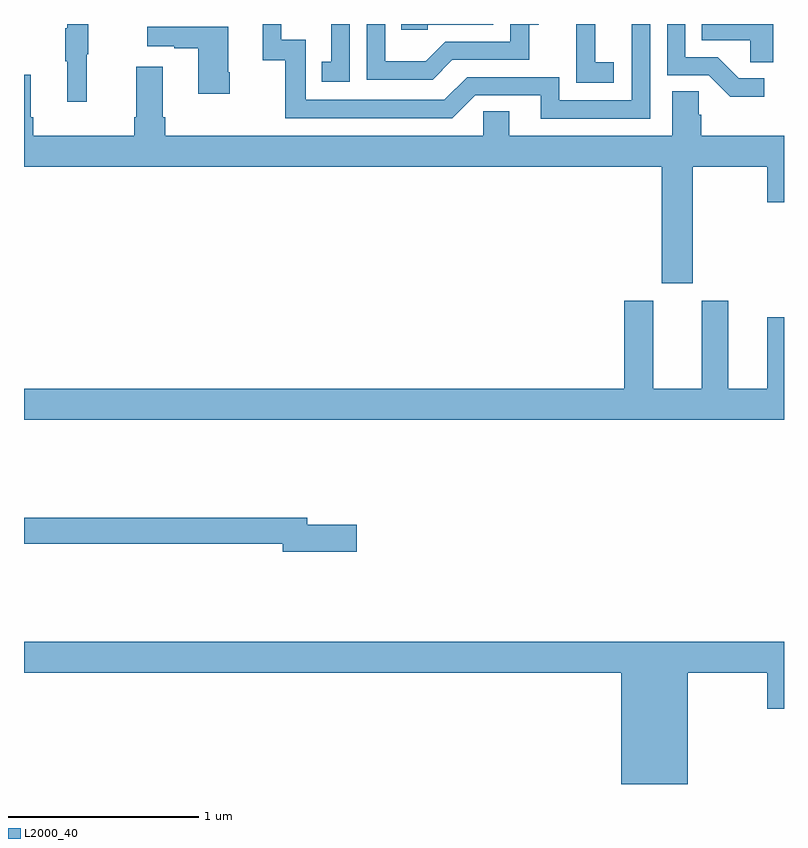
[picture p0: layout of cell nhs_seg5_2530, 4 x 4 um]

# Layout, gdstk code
import gdstk
lib = gdstk.Library(unit=1e-6, precision=1e-09)
def P(c, l, *ps):  # polygons
    for p in ps: c.add(gdstk.Polygon(p, *l))
L2000_40 = (2000, 40)

nhs_seg5_2530 = lib.new_cell('nhs_seg5_2530')
P(nhs_seg5_2530, L2000_40, [(260.896,902.514),(260.761,902.514),(260.65,902.625),(260.481,902.625),(260.481,902.799),(260.385,902.799),(260.385,902.529),(260.604,902.529),(260.717,902.417),(260.896,902.417)],
  [(260.104,902.599),(260.006,902.599),(260.006,902.799),(259.907,902.799),(259.907,902.695),(259.906,902.695),(259.906,902.489),(260.104,902.489)],
  [(259.125,902.796),(259.47,902.796),(259.47,902.799),(258.985,902.799),(258.985,902.769),(259.125,902.769)],
  [(260.295,902.799),(260.199,902.799),(260.199,902.397),(259.818,902.397),(259.818,902.52),(259.332,902.52),(259.212,902.4),(258.483,902.4),(258.483,902.715),(258.354,902.715),(258.354,902.799),(258.257,902.799),(258.257,902.607),(258.375,902.607),(258.375,902.304),(259.254,902.304),(259.374,902.424),(259.721,902.424),(259.721,902.301),(260.295,902.301)],
  [(258.714,902.799),(258.617,902.799),(258.617,902.601),(258.568,902.601),(258.568,902.496),(258.714,902.496)],
  [(260.944,902.799),(260.566,902.799),(260.566,902.714),(260.823,902.714),(260.823,902.599),(260.944,902.599)],
  [(259.255,902.61),(259.659,902.61),(259.659,902.795),(259.708,902.795),(259.708,902.799),(259.56,902.799),(259.56,902.706),(259.218,902.706),(259.114,902.602),(258.9,902.602),(258.9,902.799),(258.804,902.799),(258.804,902.505),(259.15,902.505)],
  [(257.33,902.64),(257.338,902.64),(257.338,902.799),(257.228,902.799),(257.228,902.777),(257.217,902.777),(257.217,902.603),(257.228,902.603),(257.228,902.391),(257.33,902.391)],
  [(258.084,902.545),(258.076,902.545),(258.076,902.785),(257.649,902.785),(257.649,902.681),(257.791,902.681),(257.791,902.671),(257.918,902.671),(257.918,902.433),(258.084,902.433)],
  [(260.521,902.048),(260.912,902.048),(260.912,901.86),(261,901.86),(261,902.212),(260.564,902.212),(260.564,902.321),(260.55,902.321),(260.55,902.444),(260.411,902.444),(260.411,902.212),(259.555,902.212),(259.555,902.339),(259.416,902.339),(259.416,902.212),(257.744,902.212),(257.744,902.308),(257.731,902.308),(257.731,902.575),(257.591,902.575),(257.591,902.308),(257.579,902.308),(257.579,902.212),(257.048,902.212),(257.048,902.308),(257.035,902.308),(257.035,902.533),(257,902.533),(257,902.048),(260.357,902.048),(260.357,901.434),(260.521,901.434)],
  [(261,901.255),(260.912,901.255),(260.912,900.88),(260.707,900.88),(260.707,901.342),(260.567,901.342),(260.567,900.88),(260.311,900.88),(260.311,901.342),(260.159,901.342),(260.159,900.88),(257,900.88),(257,900.716),(261,900.716)],
  [(258.751,900.164),(258.49,900.164),(258.49,900.2),(257,900.2),(257,900.064),(258.362,900.064),(258.362,900.022),(258.751,900.022)],
  [(260.494,899.384),(260.912,899.384),(260.912,899.196),(261,899.196),(261,899.548),(257,899.548),(257,899.384),(260.144,899.384),(260.144,898.799),(260.494,898.799)])

lib.write_gds('nhs_seg5_2530.gds')
